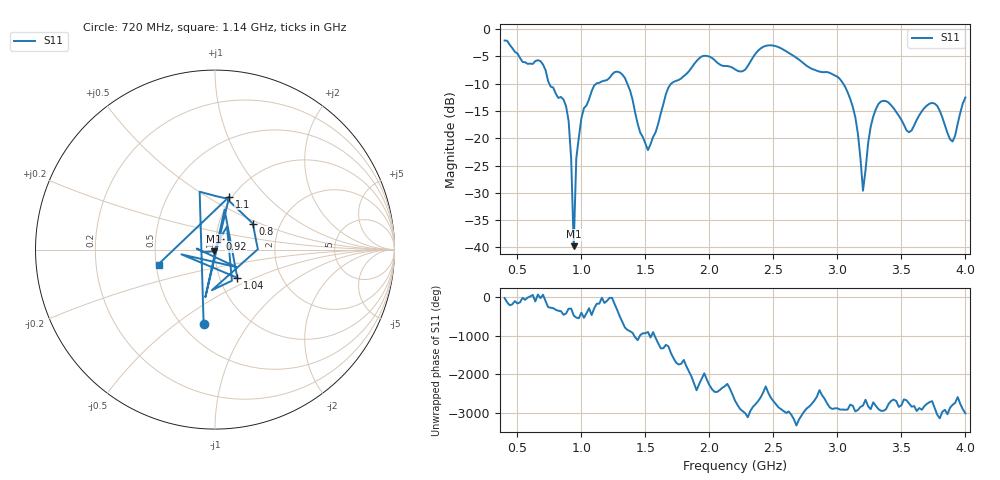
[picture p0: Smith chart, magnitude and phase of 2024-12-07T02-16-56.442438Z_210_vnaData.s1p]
!Created with skrf (http://scikit-rf.org).
# Hz S RI R 50.0
!freq ReS11 ImS11
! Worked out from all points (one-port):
!   181 points, 400 MHz to 4 GHz, reference 50 ohm
!   lowest |S11| = -39.8 dB at 940 MHz (marker M1), VSWR 1.02, Z = 49.6 - j0.937 ohm
!   |S11| at or under -10 dB: 749.4 MHz to 1.116 GHz (366.3 MHz wide, 39.3 % of centre); 1.359 GHz to 1.7 GHz (341 MHz wide, 22.3 % of centre); 3.046 GHz to end of sweep
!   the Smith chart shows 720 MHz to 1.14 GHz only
!   S11 on the Smith chart (normalised r, x): 720 MHz: 0.63, -0.64; 800 MHz: 1.45, +0.45; 920 MHz: 1.05, +0.13; 1.04 GHz: 1.21, -0.40; 1.1 GHz: 0.97, +0.63; 1.14 GHz: 0.52, -0.10
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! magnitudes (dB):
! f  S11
! 400 MHz  -2.1
! 720 MHz  -7.5
! 800 MHz  -11.8
! 860 MHz  -12.9
! 900 MHz  -16.8
! 920 MHz  -23.7
! 940 MHz  -39.8
! 960 MHz  -23.7
! 1.04 GHz  -14.0
! 1.1 GHz  -10.3
! 1.14 GHz  -9.8
! 1.3 GHz  -7.9
! 1.52 GHz  -22.2
! 1.68 GHz  -10.7
! 1.76 GHz  -9.3
! 1.96 GHz  -4.9
! 2.2 GHz  -7.4
! 2.44 GHz  -3.1
! 2.66 GHz  -4.9
! 3.1 GHz  -12.8
! 3.16 GHz  -19.1
! 3.2 GHz  -29.6
! 3.26 GHz  -17.9
! 3.32 GHz  -13.7
! 3.56 GHz  -18.9
! 3.74 GHz  -13.5
! 3.9 GHz  -20.6
! 4 GHz  -12.5
